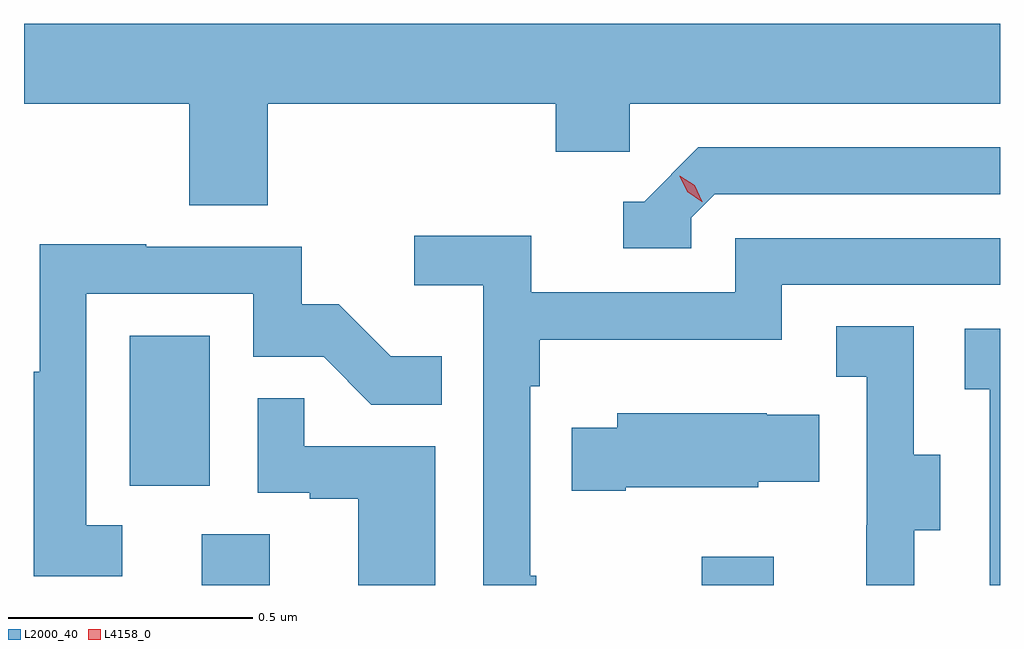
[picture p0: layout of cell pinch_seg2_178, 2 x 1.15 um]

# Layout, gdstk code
import gdstk
lib = gdstk.Library(unit=1e-6, precision=1e-09)
def R(c, l, rs):  # rectangles x0, y0, x1, y1
    for r in rs: c.add(gdstk.rectangle(r[:2], r[2:], *l))
def P(c, l, *ps):  # polygons
    for p in ps: c.add(gdstk.Polygon(p, *l))
L2000_40 = (2000, 40)
L4158_0 = (4158, 0)

pinch_seg2_178 = lib.new_cell('pinch_seg2_178')
R(pinch_seg2_178, L2000_40, [(1089.653,633.33,1089.793,633.434), (1090.678,633.33,1090.825,633.388), (1089.506,633.534,1089.67,633.841)])
P(pinch_seg2_178, L2000_40, [(1089.788,634.316),(1090.379,634.316),(1090.379,634.218),(1090.53,634.218),(1090.53,634.316),(1091.289,634.316),(1091.289,634.48),(1089.289,634.48),(1089.289,634.316),(1089.628,634.316),(1089.628,634.108),(1089.788,634.108)],
  [(1090.656,634.083),(1090.704,634.131),(1091.289,634.131),(1091.289,634.227),(1090.671,634.227),(1090.56,634.116),(1090.517,634.116),(1090.517,634.02),(1090.656,634.02)],
  [(1090.339,633.349),(1090.326,633.349),(1090.326,633.737),(1090.346,633.737),(1090.346,633.833),(1090.842,633.833),(1090.842,633.945),(1091.289,633.945),(1091.289,634.041),(1090.746,634.041),(1090.746,633.93),(1090.328,633.93),(1090.328,634.046),(1090.089,634.046),(1090.089,633.944),(1090.23,633.944),(1090.23,633.33),(1090.339,633.33)],
  [(1089.49,633.453),(1089.417,633.453),(1089.417,633.927),(1089.759,633.927),(1089.759,633.798),(1089.903,633.798),(1090.001,633.7),(1090.145,633.7),(1090.145,633.799),(1090.041,633.799),(1089.934,633.906),(1089.858,633.906),(1089.858,634.023),(1089.539,634.023),(1089.539,634.028),(1089.321,634.028),(1089.321,633.767),(1089.309,633.767),(1089.309,633.348),(1089.49,633.348)],
  [(1091.113,633.442),(1091.167,633.442),(1091.167,633.597),(1091.112,633.597),(1091.112,633.86),(1090.953,633.86),(1090.953,633.757),(1091.016,633.757),(1091.016,633.453),(1091.015,633.453),(1091.015,633.33),(1091.113,633.33)],
  [(1091.289,633.855),(1091.217,633.855),(1091.217,633.731),(1091.268,633.731),(1091.268,633.33),(1091.289,633.33)],
  [(1090.132,633.615),(1089.863,633.615),(1089.863,633.713),(1089.768,633.713),(1089.768,633.519),(1089.875,633.519),(1089.875,633.507),(1089.974,633.507),(1089.974,633.33),(1090.132,633.33)],
  [(1090.522,633.53),(1090.794,633.53),(1090.794,633.542),(1090.919,633.542),(1090.919,633.679),(1090.811,633.679),(1090.811,633.682),(1090.505,633.682),(1090.505,633.652),(1090.411,633.652),(1090.411,633.523),(1090.522,633.523)])
P(pinch_seg2_178, L4158_0, [(1090.678,634.116),(1090.648,634.136),(1090.633,634.168),(1090.633,634.169),(1090.633,634.169),(1090.663,634.149),(1090.679,634.116),(1090.679,634.116)])

lib.write_gds('pinch_seg2_178.gds')
